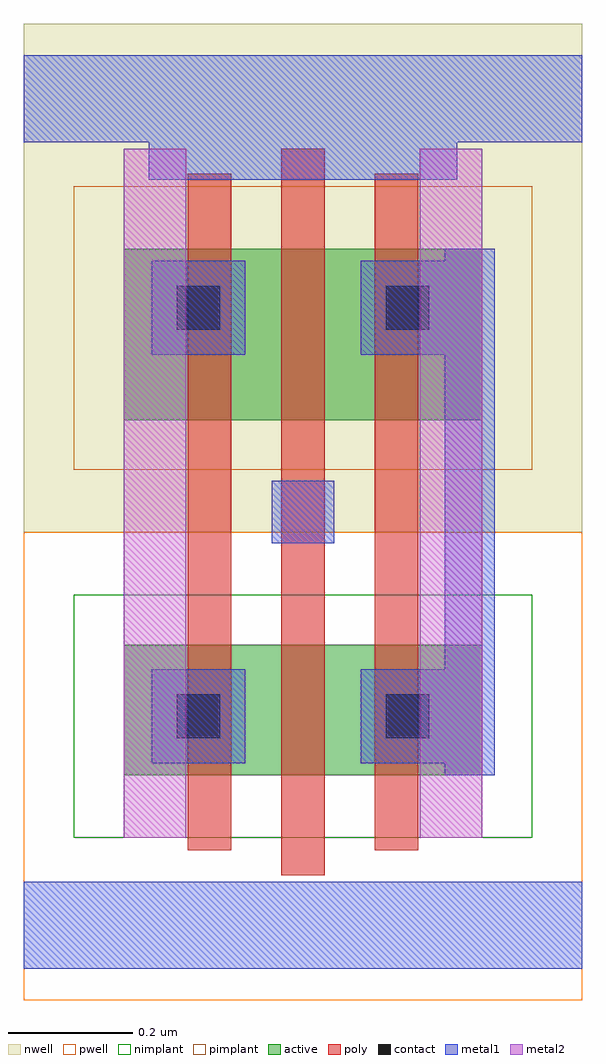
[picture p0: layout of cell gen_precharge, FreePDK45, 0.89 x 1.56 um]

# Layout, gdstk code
import gdstk
lib = gdstk.Library(unit=1e-6, precision=5e-10)
def R(c, l, rs):  # rectangles x0, y0, x1, y1
    for r in rs: c.add(gdstk.rectangle(r[:2], r[2:], *l))
def A(c, l, x, y, w, h, nx, ny, dx, dy):  # array of equal rectangles
    R(c, l, [(x+i*dx, y+j*dy, x+i*dx+w, y+j*dy+h) for i in range(nx) for j in range(ny)])
active = (1, 0)
pwell = (2, 0)
nwell = (3, 0)
nimplant = (4, 0)
pimplant = (5, 0)
poly = (9, 0)
contact = (10, 0)
metal1 = (11, 0)
metal2 = (13, 0)

gen_precharge = lib.new_cell('gen_precharge')
R(gen_precharge, active, [(0.16,0.36,0.735,0.57), (0.16,0.93,0.735,1.205)])
R(gen_precharge, pwell, [(0,0,0.895,0.75)])
R(gen_precharge, nwell, [(0,0.75,0.895,1.565)])
R(gen_precharge, nimplant, [(0.08,0.26,0.815,0.65)])
R(gen_precharge, pimplant, [(0.08,0.85,0.815,1.305)])
R(gen_precharge, poly, [(0.4125,0.2,0.4825,1.365), (0.2625,0.24,0.3325,1.325), (0.5625,0.24,0.6325,1.325)])
R(gen_precharge, contact, [(0.245,0.42,0.315,0.49), (0.58,0.42,0.65,0.49), (0.245,1.075,0.315,1.145), (0.58,1.075,0.65,1.145)])
A(gen_precharge, metal1, 0.3975, 0.07, 0.1, 0.1, 1, 3, 0, 0.6625)
R(gen_precharge, metal1, [(0,0.05,0.895,0.19), (0.675,0.36,0.755,1.205), (0.205,0.38,0.355,0.53), (0.54,0.38,0.69,0.53), (0.205,1.035,0.355,1.185), (0.54,1.035,0.69,1.185), (0.2,1.315,0.695,1.445), (0,1.375,0.895,1.515)])
R(gen_precharge, metal2, [(0.16,0.26,0.26,1.365), (0.635,0.26,0.735,1.365), (0.16,0.7325,0.26,0.8325), (0.635,0.7325,0.735,0.8325)])

lib.write_gds('gen_precharge.gds')
